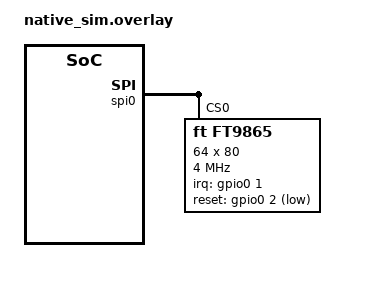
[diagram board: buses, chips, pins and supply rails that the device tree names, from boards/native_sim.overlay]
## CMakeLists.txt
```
# Copyright 2025 The ChromiumOS Authors
# Use of this source code is governed by a BSD-style license that can be
# found in the LICENSE file.

cmake_minimum_required(VERSION 3.13.1)
find_package(Zephyr REQUIRED HINTS "${ZEPHYR_BASE}")
project(ft9865_test)

FILE(GLOB app_sources src/*.c)
target_sources(app PRIVATE ${app_sources})

# Add fingerprint drivers directory to include fingerprint_ft9865_pal.h
target_include_directories(app PUBLIC ${PLATFORM_EC}/zephyr/drivers/fingerprint)
```

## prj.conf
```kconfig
# Copyright 2025 The ChromiumOS Authors
# Use of this source code is governed by a BSD-style license that can be
# found in the LICENSE file.

CONFIG_ZTEST=y
CONFIG_EMUL=y
CONFIG_GPIO=y
CONFIG_SPI=y
CONFIG_PM_DEVICE=n
CONFIG_FINGERPRINT_SENSOR=y
#CONFIG_FINGERPRINT_SENSOR_FT9865_PAL=y
CONFIG_APPLICATION_DEFINED_SYSCALL=y
CONFIG_NATIVE_UART_0_ON_STDINOUT=y
```

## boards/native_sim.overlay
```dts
/* Copyright 2025 The ChromiumOS Authors
 * Use of this source code is governed by a BSD-style license that can be
 * found in the LICENSE file.
 */

/ {
	chosen {
		cros-fp,fingerprint-sensor = &ft9865;
	};
};

&spi0 {
	ft9865: ft9865@0 {
		compatible = "ft,ft9865";
		reg = <0>;
		spi-max-frequency = <4000000>;

		width = <64>;
		height = <80>;
		bits-per-pixel = <8>;
		v4l2-pixel-format = "V4L2_PIX_FMT_GREY";

		irq-gpios = <&gpio0 1 GPIO_ACTIVE_HIGH>;
		reset-gpios = <&gpio0 2 GPIO_ACTIVE_LOW>;
	};
};
```

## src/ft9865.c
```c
/* Copyright 2025 The ChromiumOS Authors
 * Use of this source code is governed by a BSD-style license that can be
 * found in the LICENSE file.
 */

#include "ft9865_pal_test_helpers.h"

#include <zephyr/device.h>
#include <zephyr/devicetree.h>
#include <zephyr/drivers/emul.h>
#include <zephyr/drivers/gpio.h>
#include <zephyr/drivers/gpio/gpio_emul.h>
#include <zephyr/fff.h>
#include <zephyr/sys/byteorder.h>
#include <zephyr/ztest.h>
#include <zephyr/ztest_assert.h>

#include <drivers/fingerprint.h>
#include <emul/emul_ft9865.h>
#include <fingerprint/v4l2_types.h>
#include <fingerprint_ft9865.h>
#include <fingerprint_ft9865_private.h>

DEFINE_FFF_GLOBALS;

struct ft9865_fixture {
	const struct device *dev;
	const struct emul *target;
};

static void *ft9865_setup(void)
{
	static struct ft9865_fixture fixture = {
		.dev = DEVICE_DT_GET(DT_NODELABEL(ft9865)),
		.target = EMUL_DT_GET(DT_NODELABEL(ft9865)),
	};

	zassert_not_null(fixture.dev);
	zassert_not_null(fixture.target);
	return &fixture;
}

ZTEST_SUITE(ft9865, NULL, ft9865_setup, NULL, NULL, NULL);

ZTEST_F(ft9865, test_init_success)
{
	zassert_ok(fingerprint_init(fixture->dev));
}

ZTEST_F(ft9865, test_deinit_success)
{
	zassert_ok(fingerprint_deinit(fixture->dev));
}

ZTEST_F(ft9865, test_get_info)
{
	struct fingerprint_info info;

	zassert_ok(fingerprint_init(fixture->dev));
	zassert_ok(fingerprint_get_info(fixture->dev, &info));

	zassert_equal(info.vendor_id, FOURCC('F', 'T', ' ', ' '));
	zassert_equal(info.product_id, 9);
	zassert_equal(info.version, 1);
	zassert_equal(info.frame_size, CONFIG_FINGERPRINT_SENSOR_IMAGE_SIZE);
	zassert_equal(info.pixel_format, FINGERPRINT_SENSOR_V4L2_PIXEL_FORMAT(
						 DT_NODELABEL(ft9865)));
	zassert_equal(info.width,
		      FINGERPRINT_SENSOR_RES_X(DT_NODELABEL(ft9865)));
	zassert_equal(info.height,
		      FINGERPRINT_SENSOR_RES_Y(DT_NODELABEL(ft9865)));
	zassert_equal(info.bpp,
		      FINGERPRINT_SENSOR_RES_BPP(DT_NODELABEL(ft9865)));
	zassert_equal(info.errors, FINGERPRINT_ERROR_DEAD_PIXELS_UNKNOWN);
}

ZTEST_F(ft9865, test_enter_idle)
{
	zassert_ok(fingerprint_set_mode(fixture->dev,
					FINGERPRINT_SENSOR_MODE_IDLE));
}

ZTEST_F(ft9865, test_invalid_mode_not_supported)
{
	zassert_equal(fingerprint_set_mode(fixture->dev, UINT16_MAX), -ENOTSUP);
}

ZTEST_F(ft9865, test_maintenance_not_supported)
{
	uint8_t buffer[CONFIG_FINGERPRINT_SENSOR_IMAGE_SIZE];

	zassert_equal(fingerprint_maintenance(fixture->dev, buffer,
					      sizeof(buffer)),
		      -ENOTSUP);
}

ZTEST_F(ft9865, test_maintenance_image_small_buffer_size)
{
	uint8_t buffer[CONFIG_FINGERPRINT_SENSOR_IMAGE_SIZE - 1];

	zassert_equal(fingerprint_maintenance(fixture->dev, buffer,
					      sizeof(buffer)),
		      -EINVAL);
}

ZTEST_F(ft9865, test_finger_status_not_supported)
{
	zassert_equal(fingerprint_finger_status(fixture->dev), -ENOTSUP);
}

ZTEST_F(ft9865, test_acquire_image_not_supported)
{
	uint8_t buffer[CONFIG_FINGERPRINT_SENSOR_IMAGE_SIZE];

	zassert_equal(fingerprint_acquire_image(fixture->dev, 0, buffer,
						sizeof(buffer)),
		      -ENOTSUP);
}

ZTEST_F(ft9865, test_acquire_image_small_buffer_size)
{
	uint8_t buffer[CONFIG_FINGERPRINT_SENSOR_IMAGE_SIZE] = { 0 };
	size_t image_buf_size = CONFIG_FINGERPRINT_SENSOR_IMAGE_SIZE - 1;
	enum fingerprint_capture_type capture_type =
		FINGERPRINT_CAPTURE_TYPE_VENDOR_FORMAT;

	zassert_equal(fingerprint_acquire_image(fixture->dev, capture_type,
						buffer, image_buf_size),
		      -EINVAL);
}

ZTEST_F(ft9865, test_periphery_spi_write_read_success)
{
	uint8_t tx_buf[1] = { 0xFD };
	uint8_t rx_buf[3] = { 0 };
	uint8_t expeceted_rx_buf[3] = { 0x1, 0x65, 0x98 };

	zassert_ok(fingerprint_init(fixture->dev));
	zassert_ok(ft9865_spi_write_then_read(tx_buf, sizeof(tx_buf),
						    rx_buf, sizeof(rx_buf)));
	zassert_mem_equal(rx_buf, expeceted_rx_buf, sizeof(expeceted_rx_buf),
			  "Received data does not match sent data");
}

ZTEST_F(ft9865, test_periphery_spi_write_read_spi_stopped)
{
	uint8_t tx_buf[1] = { 0xFD };
	uint8_t rx_buf[3] = { 0 };

	zassert_ok(fingerprint_init(fixture->dev));
	ft9865_stop_spi(fixture->target);
	zassert_equal(ft9865_spi_write_then_read(tx_buf, sizeof(tx_buf),
						       rx_buf, sizeof(rx_buf)),
		      -EINVAL);
}

ZTEST_F(ft9865, test_periphery_spi_write_success)
{
	uint8_t tx_buf[1] = { 0xFE };

	zassert_ok(fingerprint_init(fixture->dev));
	zassert_ok(ft9865_spi_write(tx_buf, sizeof(tx_buf)));
}

ZTEST_F(ft9865, test_periphery_spi_write_stopped)
{
	uint8_t tx_buf[1] = { 0xFD };

	zassert_ok(fingerprint_init(fixture->dev));
	ft9865_stop_spi(fixture->target);
	zassert_equal(ft9865_spi_write(tx_buf, sizeof(tx_buf)), -EINVAL);
}

ZTEST_F(ft9865, test_sensor_hw_reset)
{
	zassert_ok(fingerprint_init(fixture->dev));
	zassert_ok(ft9865_sensor_hw_reset());
}
```

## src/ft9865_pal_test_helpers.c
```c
/* Copyright 2025 The ChromiumOS Authors
 * Use of this source code is governed by a BSD-style license that can be
 * found in the LICENSE file.
 */

#include "ft9865_pal_test_helpers.h"

int z_impl_ft9865_sensor_hw_reset(void)
{
	return ft_sensor_hw_reset();
}

int z_impl_ft9865_spi_write(uint8_t *buffer, uint32_t len)
{
	return ft_spi_write(buffer, len);
}

int z_impl_ft9865_spi_write_then_read(uint8_t *tx_buffer, uint32_t tx_len,
			   uint8_t *rx_buffer, uint32_t rx_len)
{
	return ft_spi_write_then_read(tx_buffer, tx_len, rx_buffer, rx_len);
}
```

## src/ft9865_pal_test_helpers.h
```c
/* Copyright 2025 The ChromiumOS Authors
 * Use of this source code is governed by a BSD-style license that can be
 * found in the LICENSE file.
 */

#ifndef ZEPHYR_TEST_DRIVERS_FT9865_SRC_TEST_HELPERS_H_
#define ZEPHYR_TEST_DRIVERS_FT9865_SRC_TEST_HELPERS_H_

#include <zephyr/kernel.h>

#include <fingerprint_ft9865_pal.h>

__syscall int ft9865_sensor_hw_reset(void);
__syscall int ft9865_spi_write(uint8_t *buffer, uint32_t len);
__syscall int ft9865_spi_write_then_read(uint8_t *tx_buffer, uint32_t tx_len,
			   uint8_t *rx_buffer, uint32_t rx_len);

#include <zephyr/syscalls/ft9865_pal_test_helpers.h>

#endif /* ZEPHYR_TEST_DRIVERS_FT9865_SRC_TEST_HELPERS_H_ */
```
